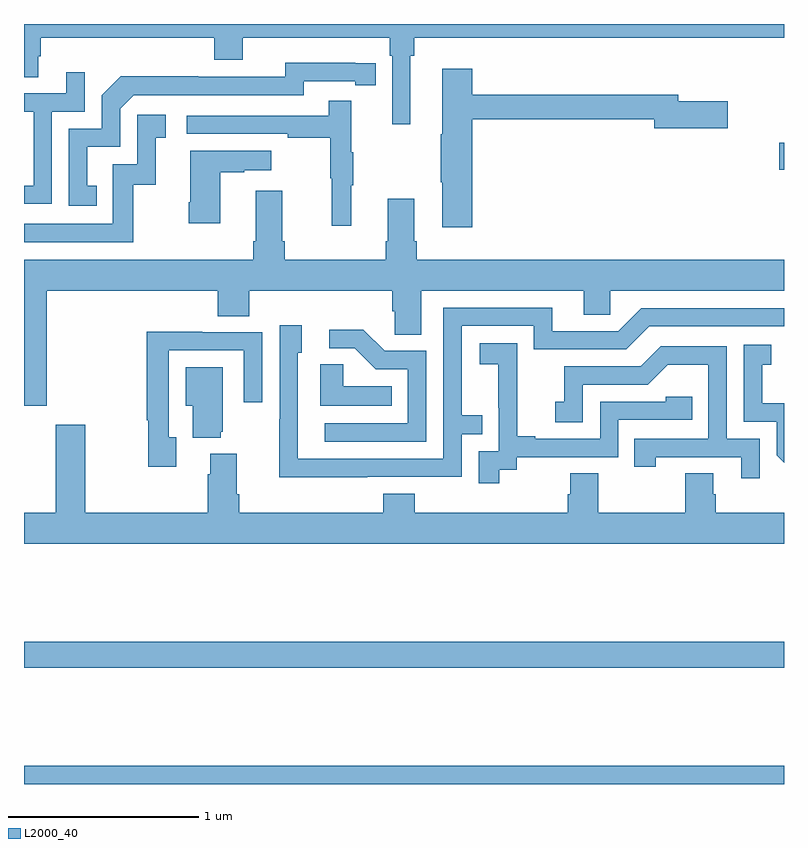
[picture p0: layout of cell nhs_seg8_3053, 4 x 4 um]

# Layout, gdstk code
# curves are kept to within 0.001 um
import gdstk
lib = gdstk.Library(unit=1e-6, precision=1e-09)
def R(c, l, rs):  # rectangles x0, y0, x1, y1
    for r in rs: c.add(gdstk.rectangle(r[:2], r[2:], *l))
def P(c, l, *ps):  # polygons
    for p in ps: c.add(gdstk.Polygon(p, *l))
L2000_40 = (2000, 40)

nhs_seg8_3053 = lib.new_cell('nhs_seg8_3053')
R(nhs_seg8_3053, L2000_40, [(301,1117.9,305,1117.996), (301,1118.512,305,1118.648), (304.974,1121.134,305,1121.276)])
P(nhs_seg8_3053, L2000_40, [(303.034,1121.732),(303.053,1121.732),(303.053,1121.828),(305,1121.828),(305,1121.9),(301,1121.9),(301,1121.62),(301.075,1121.62),(301.075,1121.73),(301.088,1121.73),(301.088,1121.828),(302,1121.828),(302,1121.711),(302.152,1121.711),(302.152,1121.828),(302.924,1121.828),(302.924,1121.732),(302.937,1121.732),(302.937,1121.373),(303.034,1121.373)],
  [(301.382,1121.049),(301.333,1121.049),(301.333,1121.253),(301.506,1121.253),(301.506,1121.454),(301.578,1121.526),(302.472,1121.526),(302.472,1121.598),(302.744,1121.598),(302.744,1121.578),(302.852,1121.578),(302.852,1121.694),(302.376,1121.695),(302.376,1121.622),(301.916,1121.622),(301.916,1121.624),(301.508,1121.624),(301.41,1121.526),(301.41,1121.349),(301.236,1121.349),(301.236,1120.944),(301.382,1120.944)],
  [(303.359,1121.398),(304.316,1121.398),(304.316,1121.351),(304.705,1121.351),(304.705,1121.493),(304.444,1121.493),(304.444,1121.527),(303.359,1121.527),(303.359,1121.665),(303.2,1121.665),(303.2,1121.321),(303.193,1121.321),(303.193,1121.068),(303.2,1121.068),(303.2,1120.83),(303.359,1120.83)],
  [(301.146,1121.439),(301.32,1121.439),(301.32,1121.647),(301.223,1121.647),(301.223,1121.535),(301,1121.535),(301,1121.439),(301.05,1121.439),(301.05,1121.05),(301,1121.05),(301,1120.953),(301.146,1120.953)],
  [(302.723,1121.051),(302.734,1121.051),(302.734,1121.225),(302.723,1121.225),(302.723,1121.497),(302.605,1121.497),(302.605,1121.418),(301.857,1121.418),(301.857,1121.322),(302.389,1121.322),(302.389,1121.302),(302.613,1121.302),(302.613,1121.088),(302.62,1121.088),(302.62,1120.839),(302.723,1120.839)],
  [(301.576,1121.055),(301.694,1121.055),(301.694,1121.301),(301.747,1121.301),(301.747,1121.422),(301.596,1121.422),(301.596,1121.163),(301.467,1121.163),(301.467,1120.848),(301,1120.848),(301,1120.752),(301.576,1120.752)],
  [(302.032,1121.119),(302.159,1121.119),(302.159,1121.129),(302.302,1121.129),(302.302,1121.233),(301.874,1121.233),(301.874,1120.963),(301.867,1120.963),(301.867,1120.851),(302.032,1120.851)],
  [(301.12,1120.496),(302.021,1120.496),(302.021,1120.363),(302.186,1120.363),(302.186,1120.496),(302.939,1120.496),(302.939,1120.387),(302.952,1120.387),(302.952,1120.264),(303.091,1120.264),(303.091,1120.496),(303.947,1120.496),(303.947,1120.369),(304.086,1120.369),(304.086,1120.496),(305,1120.496),(305,1120.66),(303.068,1120.66),(303.068,1120.756),(303.055,1120.756),(303.055,1120.981),(302.915,1120.981),(302.915,1120.756),(302.903,1120.756),(302.903,1120.66),(302.372,1120.66),(302.372,1120.756),(302.359,1120.756),(302.359,1121.023),(302.219,1121.023),(302.219,1120.756),(302.207,1120.756),(302.207,1120.66),(301,1120.66),(301,1119.89),(301.12,1119.89)],
  [(302.807,1119.516),(303.303,1119.516),(303.303,1119.741),(303.413,1119.741),(303.413,1119.842),(303.303,1119.842),(303.303,1120.311),(303.684,1120.311),(303.684,1120.188),(304.17,1120.188),(304.29,1120.308),(305,1120.308),(305,1120.404),(304.248,1120.404),(304.128,1120.284),(303.781,1120.284),(303.781,1120.407),(303.207,1120.407),(303.207,1119.612),(302.442,1119.612),(302.442,1120.17),(302.461,1120.17),(302.461,1120.315),(302.346,1120.315),(302.346,1119.821),(302.344,1119.821),(302.344,1119.515)],
  [(303.117,1120.179),(302.898,1120.179),(302.785,1120.292),(302.607,1120.292),(302.607,1120.194),(302.741,1120.194),(302.852,1120.083),(303.021,1120.083),(303.021,1119.798),(302.583,1119.798),(302.583,1119.702),(303.117,1119.702)],
  [(301.801,1119.726),(301.761,1119.726),(301.761,1120.182),(302.157,1120.182),(302.157,1119.909),(302.253,1119.909),(302.253,1120.278),(301.937,1120.278),(301.937,1120.28),(301.645,1120.28),(301.645,1119.814),(301.653,1119.814),(301.653,1119.57),(301.801,1119.57)],
  [(303.502,1119.553),(303.594,1119.553),(303.594,1119.621),(304.128,1119.621),(304.128,1119.816),(304.517,1119.816),(304.517,1119.939),(304.377,1119.939),(304.377,1119.912),(304.032,1119.912),(304.032,1119.717),(303.691,1119.717),(303.691,1119.73),(303.596,1119.73),(303.596,1120.013),(303.597,1120.013),(303.597,1120.219),(303.399,1120.219),(303.399,1120.109),(303.497,1120.109),(303.497,1119.881),(303.498,1119.881),(303.498,1119.651),(303.393,1119.651),(303.393,1119.483),(303.502,1119.483)],
  [(305,1119.903),(304.885,1119.903),(304.885,1120.107),(304.934,1120.107),(304.934,1120.213),(304.788,1120.213),(304.788,1119.807),(304.962,1119.807),(304.962,1119.63),(305,1119.592)],
  [(304.872,1119.717),(304.698,1119.717),(304.698,1120.203),(304.352,1120.203),(304.247,1120.098),(303.844,1120.098),(303.844,1119.913),(303.795,1119.913),(303.795,1119.804),(303.942,1119.804),(303.942,1120.002),(304.284,1120.002),(304.388,1120.106),(304.602,1120.106),(304.602,1119.717),(304.213,1119.717),(304.213,1119.57),(304.324,1119.57),(304.324,1119.621),(304.775,1119.621),(304.775,1119.51),(304.872,1119.51)],
  [(302.936,1119.994),(302.679,1119.994),(302.679,1120.109),(302.558,1120.109),(302.558,1119.89),(302.936,1119.89)],
  [(302.036,1119.753),(302.047,1119.753),(302.047,1120.093),(301.85,1120.093),(301.85,1119.89),(301.889,1119.89),(301.889,1119.722),(302.036,1119.722)],
  [(305,1119.328),(304.64,1119.328),(304.64,1119.426),(304.627,1119.426),(304.627,1119.536),(304.48,1119.536),(304.48,1119.328),(304.023,1119.328),(304.023,1119.536),(303.875,1119.536),(303.875,1119.426),(303.863,1119.426),(303.863,1119.328),(303.056,1119.328),(303.056,1119.427),(302.891,1119.427),(302.891,1119.328),(302.132,1119.328),(302.132,1119.424),(302.119,1119.424),(302.119,1119.637),(301.979,1119.637),(301.979,1119.53),(301.967,1119.53),(301.967,1119.328),(301.323,1119.328),(301.323,1119.79),(301.168,1119.79),(301.168,1119.328),(301,1119.328),(301,1119.164),(305,1119.164)])

lib.write_gds('nhs_seg8_3053.gds')
